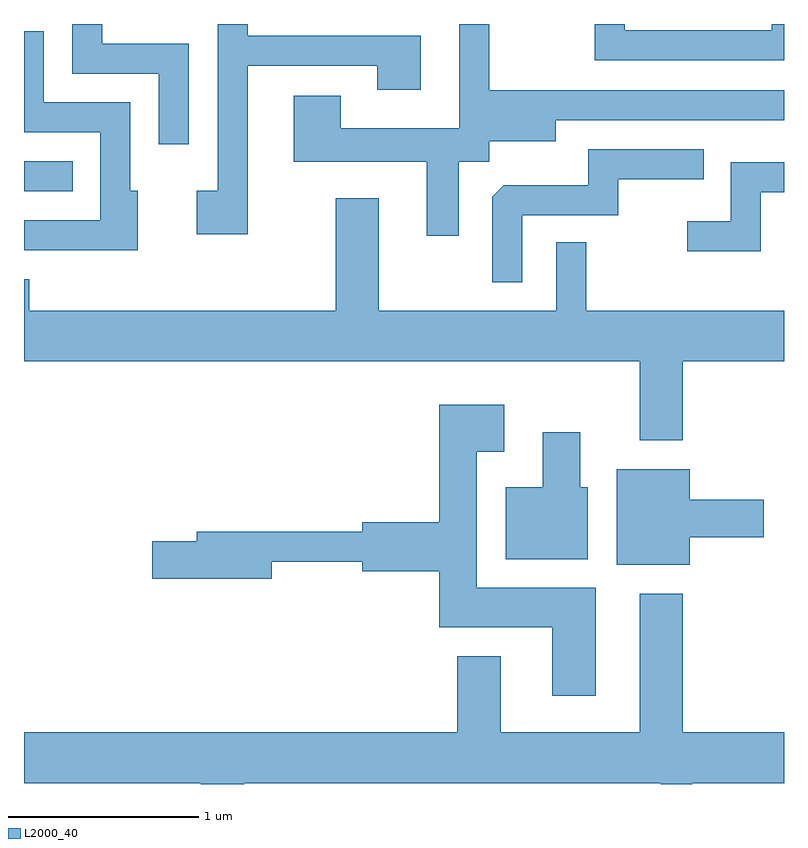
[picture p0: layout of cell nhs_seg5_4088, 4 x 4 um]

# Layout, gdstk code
import gdstk
lib = gdstk.Library(unit=1e-6, precision=1e-09)
def R(c, l, rs):  # rectangles x0, y0, x1, y1
    for r in rs: c.add(gdstk.rectangle(r[:2], r[2:], *l))
def P(c, l, *ps):  # polygons
    for p in ps: c.add(gdstk.Polygon(p, *l))
L2000_40 = (2000, 40)

nhs_seg5_4088 = lib.new_cell('nhs_seg5_4088')
R(nhs_seg5_4088, L2000_40, [(305.611,1513.191,305.868,1513.349)])
P(nhs_seg5_4088, L2000_40, [(307.899,1513.346),(308.059,1513.346),(308.059,1513.456),(308.409,1513.456),(308.409,1513.566),(309.611,1513.566),(309.611,1513.724),(308.059,1513.724),(308.059,1514.072),(307.901,1514.072),(307.901,1513.524),(307.279,1513.524),(307.279,1513.694),(307.031,1513.694),(307.031,1513.346),(307.731,1513.346),(307.731,1512.958),(307.899,1512.958)],
  [(309.611,1514.072),(309.546,1514.072),(309.546,1514.039),(308.774,1514.039),(308.774,1514.072),(308.616,1514.072),(308.616,1513.881),(309.611,1513.881)],
  [(306.789,1513.851),(307.471,1513.851),(307.471,1513.726),(307.699,1513.726),(307.699,1514.009),(306.789,1514.009),(306.789,1514.072),(306.631,1514.072),(306.631,1513.194),(306.521,1513.194),(306.521,1512.966),(306.789,1512.966)],
  [(306.479,1513.969),(306.024,1513.969),(306.024,1514.072),(305.866,1514.072),(305.866,1513.811),(306.321,1513.811),(306.321,1513.438),(306.479,1513.438)],
  [(306.209,1513.194),(306.169,1513.194),(306.169,1513.659),(305.714,1513.659),(305.714,1514.033),(305.611,1514.033),(305.611,1513.501),(306.011,1513.501),(306.011,1513.039),(305.611,1513.039),(305.611,1512.881),(306.209,1512.881)],
  [(308.234,1513.066),(308.739,1513.066),(308.739,1513.256),(309.188,1513.256),(309.188,1513.414),(308.581,1513.414),(308.581,1513.224),(308.137,1513.224),(308.076,1513.164),(308.076,1512.713),(308.234,1512.713)],
  [(309.489,1513.186),(309.611,1513.186),(309.611,1513.344),(309.331,1513.344),(309.331,1513.034),(309.103,1513.034),(309.103,1512.876),(309.489,1512.876)],
  [(309.079,1512.296),(309.611,1512.296),(309.611,1512.564),(308.569,1512.564),(308.569,1512.923),(308.411,1512.923),(308.411,1512.564),(307.479,1512.564),(307.479,1513.154),(307.251,1513.154),(307.251,1512.564),(305.639,1512.564),(305.639,1512.729),(305.611,1512.729),(305.611,1512.296),(308.851,1512.296),(308.851,1511.881),(309.079,1511.881)],
  [(308.619,1511.104),(307.994,1511.104),(307.994,1511.821),(308.139,1511.821),(308.139,1512.069),(307.796,1512.069),(307.796,1511.449),(307.391,1511.449),(307.391,1511.399),(306.521,1511.399),(306.521,1511.349),(306.286,1511.349),(306.286,1511.151),(306.914,1511.151),(306.914,1511.241),(307.391,1511.241),(307.391,1511.191),(307.796,1511.191),(307.796,1510.896),(308.391,1510.896),(308.391,1510.536),(308.619,1510.536)],
  [(308.579,1511.634),(308.539,1511.634),(308.539,1511.924),(308.341,1511.924),(308.341,1511.634),(308.146,1511.634),(308.146,1511.256),(308.579,1511.256)],
  [(309.114,1511.371),(309.504,1511.371),(309.504,1511.569),(309.114,1511.569),(309.114,1511.729),(308.731,1511.729),(308.731,1511.226),(309.114,1511.226)],
  [(306.769,1510.076),(308.961,1510.076),(308.961,1510.072),(309.129,1510.072),(309.129,1510.076),(309.611,1510.076),(309.611,1510.344),(309.079,1510.344),(309.079,1511.074),(308.851,1511.074),(308.851,1510.344),(308.119,1510.344),(308.119,1510.744),(307.891,1510.744),(307.891,1510.344),(305.611,1510.344),(305.611,1510.076),(306.541,1510.076),(306.541,1510.072),(306.769,1510.072)])

lib.write_gds('nhs_seg5_4088.gds')
